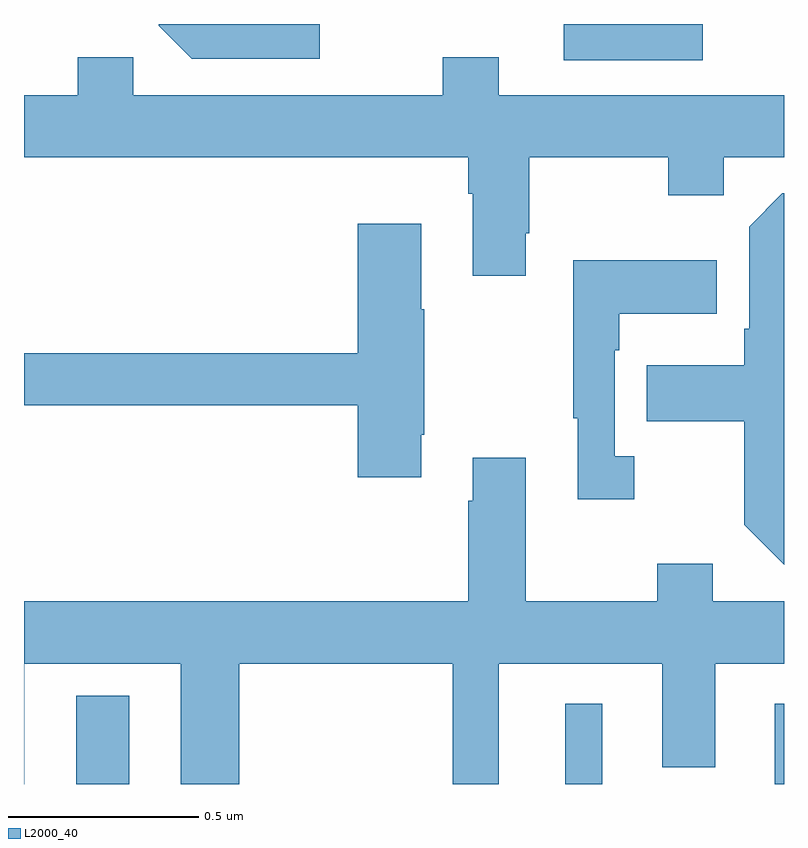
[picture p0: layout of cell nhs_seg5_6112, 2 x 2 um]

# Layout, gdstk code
import gdstk
lib = gdstk.Library(unit=1e-6, precision=1e-09)
def R(c, l, rs):  # rectangles x0, y0, x1, y1
    for r in rs: c.add(gdstk.rectangle(r[:2], r[2:], *l))
def P(c, l, *ps):  # polygons
    for p in ps: c.add(gdstk.Polygon(p, *l))
L2000_40 = (2000, 40)

nhs_seg5_6112 = lib.new_cell('nhs_seg5_6112')
R(nhs_seg5_6112, L2000_40, [(192.137,833.799,192.277,834.031), (193.424,833.799,193.522,834.01), (193.976,833.799,194,834.01), (193.421,835.704,193.786,835.799)])
P(nhs_seg5_6112, L2000_40, [(192.778,835.799),(192.354,835.799),(192.354,835.794),(192.441,835.707),(192.778,835.707)],
  [(193.321,835.249),(193.329,835.249),(193.329,835.448),(193.696,835.448),(193.696,835.349),(193.842,835.349),(193.842,835.448),(194,835.448),(194,835.612),(193.249,835.612),(193.249,835.711),(193.102,835.711),(193.102,835.612),(192.288,835.612),(192.288,835.711),(192.142,835.711),(192.142,835.612),(192,835.612),(192,835.448),(193.169,835.448),(193.169,835.352),(193.181,835.352),(193.181,835.137),(193.321,835.137)],
  [(194,835.353),(193.995,835.353),(193.908,835.266),(193.908,834.997),(193.896,834.997),(193.896,834.901),(193.639,834.901),(193.639,834.754),(193.896,834.754),(193.896,834.481),(194,834.376)],
  [(193.045,834.718),(193.053,834.718),(193.053,835.049),(193.045,835.049),(193.045,835.273),(192.878,835.273),(192.878,834.932),(192,834.932),(192,834.796),(192.878,834.796),(192.878,834.606),(193.045,834.606)],
  [(193.606,834.662),(193.554,834.662),(193.554,834.941),(193.567,834.941),(193.567,835.037),(193.823,835.037),(193.823,835.177),(193.446,835.177),(193.446,834.761),(193.457,834.761),(193.457,834.549),(193.606,834.549)],
  [(192.001,834.116),(192.413,834.116),(192.413,833.799),(192.566,833.799),(192.566,834.116),(193.128,834.116),(193.128,833.799),(193.249,833.799),(193.249,834.116),(193.679,834.116),(193.679,833.843),(193.819,833.843),(193.819,834.116),(194,834.116),(194,834.28),(193.813,834.28),(193.813,834.379),(193.666,834.379),(193.666,834.28),(193.321,834.28),(193.321,834.658),(193.181,834.658),(193.181,834.545),(193.169,834.545),(193.169,834.28),(192,834.28),(192,833.799),(192.001,833.799)])

lib.write_gds('nhs_seg5_6112.gds')
